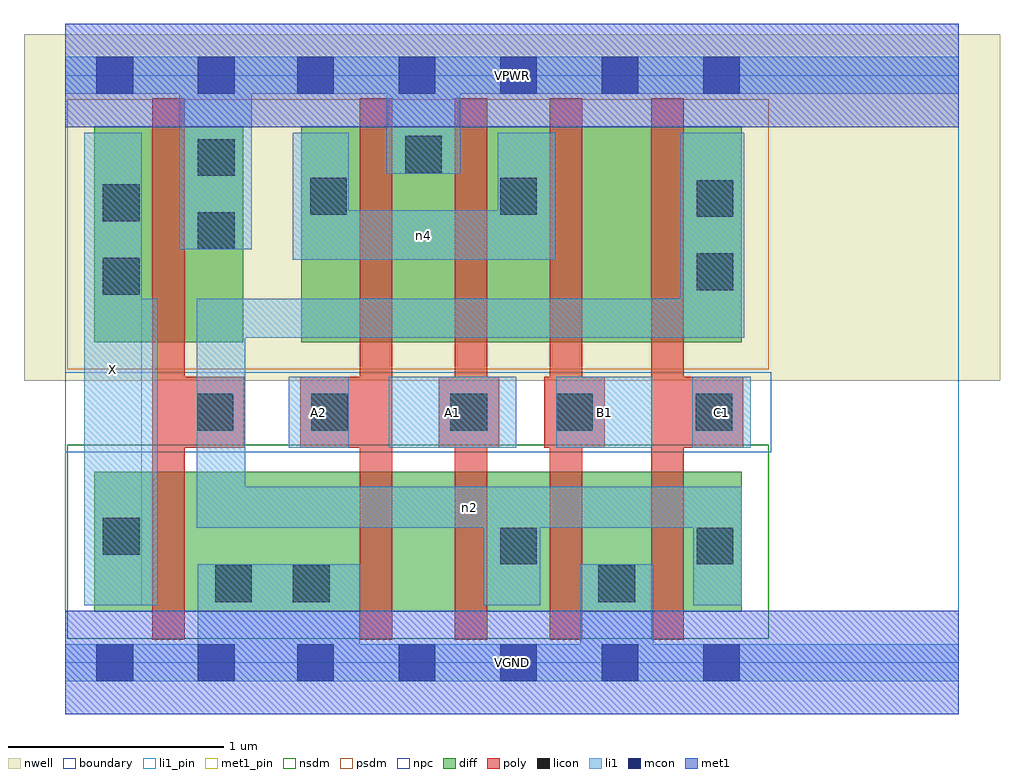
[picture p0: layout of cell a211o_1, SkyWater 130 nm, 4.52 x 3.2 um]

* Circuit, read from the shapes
.subckt a211o_1 A1 A2 B1 C1 VGND VPWR X n2 n4
XM1 VGND n2 X VSUBS sky130_fd_pr__nfet_01v8 w=0.65 l=0.15
XM2 n1 A2 VGND VSUBS sky130_fd_pr__nfet_01v8 w=0.65 l=0.15
XM3 n2 A1 n1 VSUBS sky130_fd_pr__nfet_01v8 w=0.65 l=0.15
XM4 VGND B1 n2 VSUBS sky130_fd_pr__nfet_01v8 w=0.65 l=0.15
XM5 n2 C1 VGND VSUBS sky130_fd_pr__nfet_01v8 w=0.65 l=0.15
XM6 VPWR n2 X n3 sky130_fd_pr__pfet_01v8 w=1 l=0.15
XM7 VPWR A2 n4 n3 sky130_fd_pr__pfet_01v8 w=1 l=0.15
XM8 n4 A1 VPWR n3 sky130_fd_pr__pfet_01v8 w=1 l=0.15
XM9 n5 B1 n4 n3 sky130_fd_pr__pfet_01v8 w=1 l=0.15
XM10 n2 C1 n5 n3 sky130_fd_pr__pfet_01v8 w=1 l=0.15
.ends

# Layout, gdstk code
import gdstk
lib = gdstk.Library(unit=1e-6, precision=1e-09)
def R(c, l, rs):  # rectangles x0, y0, x1, y1
    for r in rs: c.add(gdstk.rectangle(r[:2], r[2:], *l))
def A(c, l, x, y, w, h, nx, ny, dx, dy):  # array of equal rectangles
    R(c, l, [(x+i*dx, y+j*dy, x+i*dx+w, y+j*dy+h) for i in range(nx) for j in range(ny)])
nwell = (64, 20)
diff = (65, 20)
poly = (66, 20)
licon = (66, 44)
li1_pin = (67, 16)
li1 = (67, 20)
mcon = (67, 44)
met1_pin = (68, 16)
met1 = (68, 20)
nsdm = (93, 44)
psdm = (94, 20)
npc = (95, 20)
boundary = (235, 4)

a211o_1 = lib.new_cell('a211o_1')
R(a211o_1, nwell, [(-0.19,1.305,4.33,2.91), (0,1.305,4.14,2.91)])
R(a211o_1, diff, [(0.135,0.235,3.135,0.885), (0.135,1.485,0.825,2.485), (1.095,1.485,3.135,2.485)])
A(a211o_1, poly, 1.365, 0.105, 0.15, 2.51, 3, 1, 0.44, 0)
R(a211o_1, poly, [(0.405,0.105,0.555,2.615), (2.715,0.105,2.865,2.615), (0.405,0.995,0.83,1.325), (1.09,0.995,1.515,1.325), (1.73,0.995,2.01,1.325), (2.22,0.995,2.5,1.325), (2.715,0.995,3.14,1.325)])
R(a211o_1, licon, [(0.695,0.28,0.865,0.45), (1.055,0.28,1.225,0.45), (2.47,0.28,2.64,0.45), (2.015,0.455,2.185,0.625), (2.925,0.455,3.095,0.625), (0.175,0.5,0.345,0.67), (0.61,1.075,0.78,1.245), (1.14,1.075,1.31,1.245), (1.785,1.075,1.955,1.245), (2.275,1.075,2.445,1.245), (2.92,1.075,3.09,1.245), (0.175,1.705,0.345,1.875), (2.925,1.725,3.095,1.895), (0.615,1.915,0.785,2.085), (0.175,2.045,0.345,2.215), (2.925,2.065,3.095,2.235), (1.135,2.075,1.305,2.245), (2.015,2.075,2.185,2.245), (0.615,2.255,0.785,2.425), (1.575,2.27,1.745,2.44)])
R(a211o_1, li1_pin, [(0.09,0.265,0.355,2.455), (1.035,0.995,1.315,1.325), (1.5,0.995,2.09,1.325), (2.275,0.995,2.72,1.325), (2.905,0.995,3.175,1.325)])
R(a211o_1, li1, [(0,-0.085,4.14,0.085), (0.615,-0.085,1.365,0.455), (2.385,-0.085,2.725,0.455), (0.09,0.265,0.355,2.455), (0.09,0.265,0.43,1.685), (1.94,0.265,2.2,0.815), (2.91,0.265,3.135,0.815), (0.61,0.625,3.135,0.815), (0.61,0.625,0.835,1.685), (1.035,0.995,1.315,1.325), (1.5,0.995,2.09,1.325), (2.275,0.995,2.72,1.325), (2.905,0.995,3.175,1.325), (0.61,1.505,3.145,1.685), (2.85,1.505,3.145,2.455), (1.055,1.865,2.27,2.095), (1.055,1.865,1.315,2.455), (2.005,1.865,2.27,2.455), (0.53,1.915,0.865,2.805), (1.49,2.265,1.83,2.805), (0,2.635,4.14,2.805)])
A(a211o_1, mcon, 1.075, -0.085, 0.17, 0.17, 5, 2, 0.47, 2.72)
R(a211o_1, mcon, [(0.145,-0.085,0.315,0.085), (0.615,-0.085,0.785,0.085), (0.145,2.635,0.315,2.805), (0.615,2.635,0.785,2.805)])
R(a211o_1, met1_pin, [(0,-0.24,4.14,0.24), (0,2.48,4.14,2.96)])
R(a211o_1, met1, [(0,-0.24,4.14,0.24), (0,2.48,4.14,2.96)])
R(a211o_1, nsdm, [(0.01,0.11,3.26,1.01)])
R(a211o_1, psdm, [(0.01,1.36,3.26,2.61)])
R(a211o_1, npc, [(0,0.975,3.27,1.345)])
R(a211o_1, boundary, [(0,0,4.14,2.72)])
a211o_1.add(gdstk.Label('A1', (1.795,1.16), layer=67, texttype=5))
a211o_1.add(gdstk.Label('A2', (1.175,1.16), layer=67, texttype=5))
a211o_1.add(gdstk.Label('B1', (2.497,1.16), layer=67, texttype=5))
a211o_1.add(gdstk.Label('C1', (3.04,1.16), layer=67, texttype=5))
a211o_1.add(gdstk.Label('X', (0.222,1.36), layer=67, texttype=5))
a211o_1.add(gdstk.Label('n4', (1.662,1.98), layer=67, texttype=5))
a211o_1.add(gdstk.Label('n2', (1.872,0.72), layer=67, texttype=5))
a211o_1.add(gdstk.Label('VPWR', (2.07,2.72), layer=68, texttype=5))
a211o_1.add(gdstk.Label('VGND', (2.07,0), layer=68, texttype=5))
a211o_1.add(gdstk.Label('A1', (1.795,1.16), layer=67, texttype=16))
a211o_1.add(gdstk.Label('A2', (1.175,1.16), layer=67, texttype=16))
a211o_1.add(gdstk.Label('B1', (2.497,1.16), layer=67, texttype=16))
a211o_1.add(gdstk.Label('C1', (3.04,1.16), layer=67, texttype=16))
a211o_1.add(gdstk.Label('X', (0.222,1.36), layer=67, texttype=16))
a211o_1.add(gdstk.Label('VPWR', (2.07,2.72), layer=68, texttype=16))
a211o_1.add(gdstk.Label('VGND', (2.07,0), layer=68, texttype=16))

lib.write_gds('a211o_1.gds')
